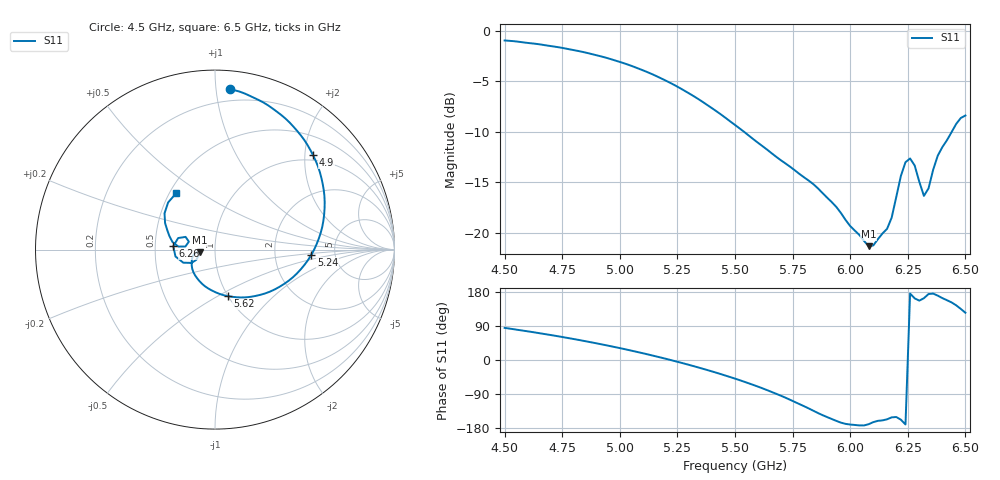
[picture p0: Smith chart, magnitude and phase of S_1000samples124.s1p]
! TOUCHSTONE file generated by CST MICROWAVE STUDIO
! Date and time: Thu Oct 27 02:05:14 2022
! Project name: L.cst
! Parameters = {Di=1.27; Epsilon_r=1.56; InnerDiameter=1.27; Length=2; Lf=10; Lg=60; OuterConductorThickness=0.2921; OuterDiameter=3.6; Wf=3; Wp=41.2; de=1.5; df=6.8; g=0.8; gx=3.4072; gy=3.20176; h=2.34; hf=1.524; px=14.0599; py=11.1082; w=9.7; wx=10.6527; wy=7.90645}
! Header version: 2018
! Port assignment regex: !\s*Touchstone port\s*([0-9]+)\s*=\s*(CST MWS port|CST DS port)\s*([0-9]+|Zmin|Zmax)\s*\(\"(.*)\"\)(\s*mode\s*([0-9]+))?.*
! Touchstone port assignment:
! Touchstone port 1 = CST MWS port 1 ("")
# GHz S DB R 50
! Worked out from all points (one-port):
!   101 points, 4.5 GHz to 6.5 GHz, reference 50 ohm
!   lowest |S11| = -21.3 dB at 6.08 GHz (marker M1), VSWR 1.19, Z = 42.2 - j1.33 ohm
!   |S11| at or under -10 dB: 5.54 GHz to 6.441 GHz (901.2 MHz wide, 15 % of centre)
!   S11 on the Smith chart (normalised r, x): 4.5 GHz: 0.12, +1.09; 4.9 GHz: 0.88, +2.18; 5.24 GHz: 3.30, -0.27; 5.62 GHz: 1.00, -0.56; 6.26 GHz: 0.62, +0.02; 6.5 GHz: 0.54, +0.40
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4.5  -0.93 84.7
4.64  -1.28 71.9
4.76  -1.71 59.6
4.9  -2.41 43.9
5  -3.06 31.4
5.12  -4.08 15.0
5.24  -5.39 -3.1
5.26  -5.64 -6.3
5.38  -7.34 -26.5
5.5  -9.32 -49.1
5.62  -11.43 -74.9
5.76  -13.82 -110.9
5.86  -15.61 -139.9
6  -19.35 -170.3
6.08  -21.34 -169.4
6.1  -21.27 -164.0
6.16  -19.63 -156.5
6.18  -18.51 -151.3
6.22  -14.37 -157.6
6.24  -13.01 -170.2
6.26  -12.64 175.4
6.28  -13.34 162.6
6.3  -14.96 156.7
6.32  -16.35 163.1
6.34  -15.61 174.0
6.38  -12.36 169.8
6.46  -9.21 144.3
6.5  -8.38 124.7
